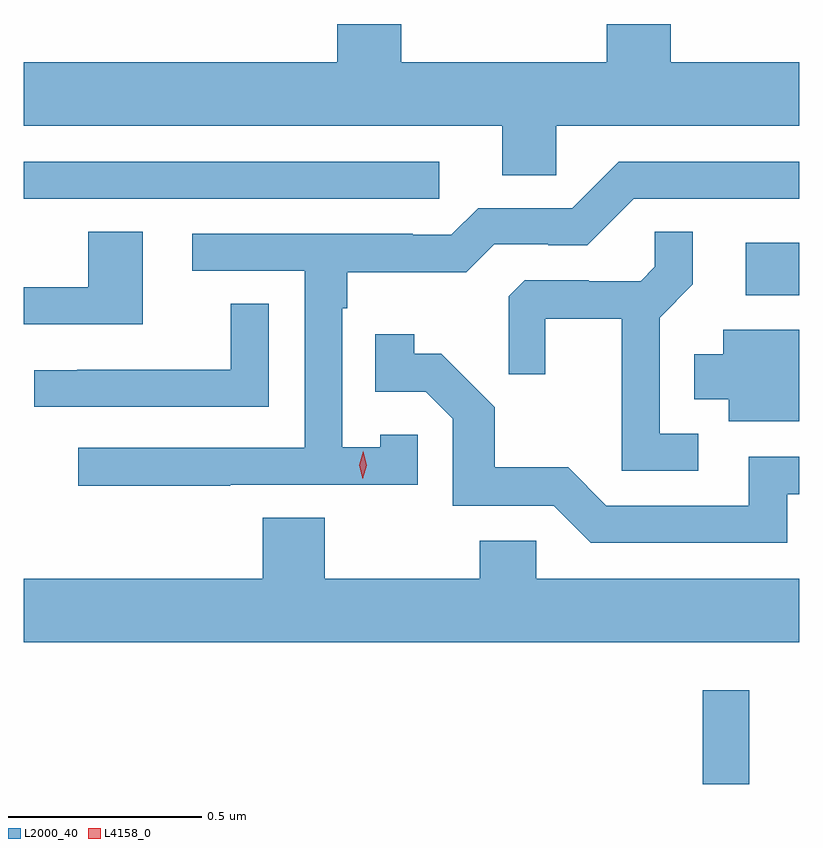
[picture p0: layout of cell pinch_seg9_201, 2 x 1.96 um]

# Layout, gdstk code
import gdstk
lib = gdstk.Library(unit=1e-6, precision=1e-09)
def R(c, l, rs):  # rectangles x0, y0, x1, y1
    for r in rs: c.add(gdstk.rectangle(r[:2], r[2:], *l))
def P(c, l, *ps):  # polygons
    for p in ps: c.add(gdstk.Polygon(p, *l))
L2000_40 = (2000, 40)
L4158_0 = (4158, 0)

pinch_seg9_201 = lib.new_cell('pinch_seg9_201')
R(pinch_seg9_201, L2000_40, [(531.126,1224.026,531.247,1224.268), (531.237,1225.287,531.375,1225.423), (529.375,1225.536,530.446,1225.632)])
P(pinch_seg9_201, L2000_40, [(530.748,1225.724),(531.375,1225.724),(531.375,1225.888),(531.044,1225.888),(531.044,1225.987),(530.879,1225.987),(530.879,1225.888),(530.348,1225.888),(530.348,1225.987),(530.183,1225.987),(530.183,1225.888),(529.375,1225.888),(529.375,1225.724),(530.609,1225.724),(530.609,1225.597),(530.748,1225.597)],
  [(529.907,1224.798),(530.391,1224.798),(530.391,1224.927),(530.295,1224.927),(530.295,1224.895),(530.196,1224.895),(530.196,1225.253),(530.209,1225.253),(530.209,1225.346),(530.516,1225.346),(530.589,1225.419),(530.728,1225.419),(530.728,1225.416),(530.829,1225.416),(530.949,1225.536),(531.375,1225.536),(531.375,1225.632),(530.91,1225.632),(530.79,1225.512),(530.547,1225.512),(530.478,1225.443),(530.378,1225.443),(530.378,1225.446),(529.809,1225.446),(529.809,1225.35),(530.1,1225.35),(530.1,1224.894),(529.515,1224.894),(529.515,1224.796),(529.907,1224.796)],
  [(531.115,1224.93),(531.015,1224.93),(531.015,1225.229),(531.101,1225.315),(531.101,1225.451),(531.003,1225.451),(531.003,1225.36),(530.966,1225.323),(530.832,1225.323),(530.832,1225.326),(530.667,1225.326),(530.626,1225.285),(530.626,1225.083),(530.72,1225.083),(530.72,1225.226),(530.918,1225.226),(530.918,1224.834),(531.115,1224.834)],
  [(529.681,1225.451),(529.541,1225.451),(529.541,1225.308),(529.375,1225.308),(529.375,1225.212),(529.681,1225.212)],
  [(530.007,1225.265),(529.909,1225.265),(529.909,1225.095),(529.513,1225.095),(529.513,1225.094),(529.401,1225.094),(529.401,1224.999),(530.007,1224.999)],
  [(531.375,1225.198),(531.179,1225.198),(531.179,1225.135),(531.104,1225.135),(531.104,1225.019),(531.194,1225.019),(531.194,1224.962),(531.375,1224.962)],
  [(531.344,1224.774),(531.375,1224.774),(531.375,1224.87),(531.245,1224.87),(531.245,1224.744),(530.877,1224.744),(530.779,1224.843),(530.59,1224.843),(530.59,1224.998),(530.452,1225.136),(530.382,1225.136),(530.382,1225.186),(530.281,1225.186),(530.281,1225.038),(530.412,1225.038),(530.481,1224.969),(530.481,1224.744),(530.742,1224.744),(530.838,1224.648),(531.344,1224.648)],
  [(531.375,1224.556),(530.697,1224.556),(530.697,1224.654),(530.551,1224.654),(530.551,1224.556),(530.151,1224.556),(530.151,1224.713),(529.991,1224.713),(529.991,1224.556),(529.375,1224.556),(529.375,1224.392),(531.375,1224.392)])
P(pinch_seg9_201, L4158_0, [(530.249,1224.813),(530.249,1224.813),(530.24,1224.849),(530.25,1224.885),(530.25,1224.885),(530.25,1224.885),(530.259,1224.849),(530.249,1224.813)])

lib.write_gds('pinch_seg9_201.gds')
